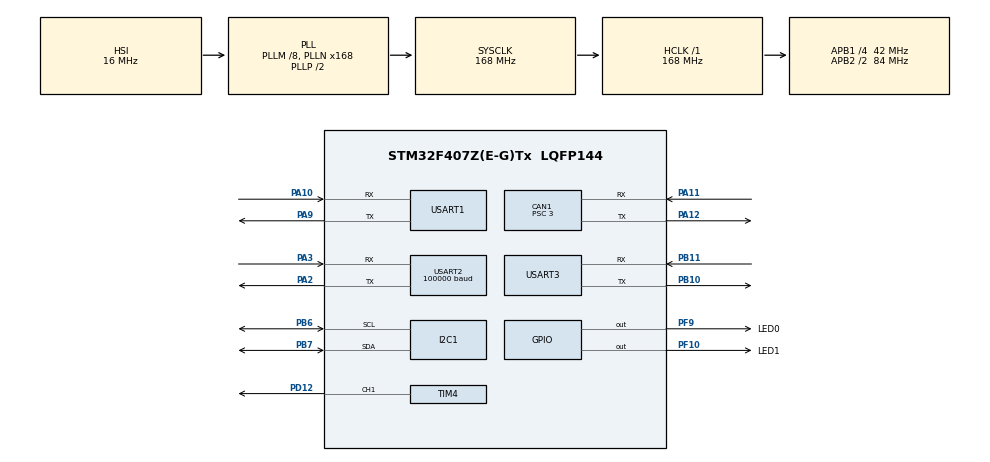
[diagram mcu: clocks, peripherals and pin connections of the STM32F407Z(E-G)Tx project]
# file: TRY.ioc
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CAN1.ABOM=ENABLE
CAN1.BS1=CAN_BS1_9TQ
CAN1.BS2=CAN_BS2_4TQ
CAN1.CalculateTimeQuantum=71.42857142857143
CAN1.Prescaler=3
CAN1.TXFP=DISABLE
Dma.Request0=USART2_RX
Dma.USART2_RX.0.Direction=DMA_PERIPH_TO_MEMORY
Dma.USART2_RX.0.FIFOMode=DMA_FIFOMODE_DISABLE
Dma.USART2_RX.0.Instance=DMA1_Stream5
Dma.USART2_RX.0.MemDataAlignment=DMA_MDATAALIGN_BYTE
Dma.USART2_RX.0.MemInc=DMA_MINC_ENABLE
Dma.USART2_RX.0.Mode=DMA_NORMAL
Dma.USART2_RX.0.PeriphDataAlignment=DMA_PDATAALIGN_BYTE
Dma.USART2_RX.0.PeriphInc=DMA_PINC_DISABLE
Dma.USART2_RX.0.Priority=DMA_PRIORITY_VERY_HIGH
FREERTOS.Tasks01=ControlTask,2,128,StartControlTask,Default,NULL,Dynamic,NULL,NULL;imu_Task,0,256,Start_imu_Task,Default,NULL,Dynamic,NULL,NULL
FREERTOS.Timers01=CanTimerSend,CanTimerSendCallback,osTimerPeriodic,Default,NULL,Dynamic,NULL
FREERTOS.configGENERATE_RUN_TIME_STATS=0
FREERTOS.configUSE_TIMERS=1
FREERTOS.configUSE_TRACE_FACILITY=1
Mcu.Family=STM32F4
Mcu.Name=STM32F407Z(E-G)Tx
Mcu.Package=LQFP144
NVIC.CAN1_RX0_IRQn=true\:5\:0\:true\:false\:true\:true\:true
NVIC.CAN1_TX_IRQn=true\:5\:0\:true\:false\:true\:true\:true
NVIC.DMA1_Stream5_IRQn=true\:5\:0\:false\:false\:true\:true\:false
NVIC.PriorityGroup=NVIC_PRIORITYGROUP_4
NVIC.TIM3_IRQn=true\:5\:0\:false\:false\:true\:true\:true
NVIC.TIM4_IRQn=true\:5\:0\:false\:false\:true\:true\:true
NVIC.TIM5_IRQn=true\:5\:0\:false\:false\:true\:true\:true
NVIC.TIM6_DAC_IRQn=true\:0\:0\:false\:false\:true\:false\:false
NVIC.TimeBase=TIM6_DAC_IRQn
NVIC.TimeBaseIP=TIM6
NVIC.USART1_IRQn=true\:5\:0\:true\:false\:true\:true\:true
NVIC.USART2_IRQn=true\:5\:0\:true\:false\:true\:true\:true
NVIC.USART3_IRQn=true\:5\:0\:false\:false\:true\:true\:true
PA10.Mode=Asynchronous
PA10.Signal=USART1_RX
PA11.Mode=Master
PA11.Signal=CAN1_RX
PA12.Mode=Master
PA12.Signal=CAN1_TX
PA13.Mode=Serial_Wire
PA13.Signal=SYS_JTMS-SWDIO
PA14.Mode=Serial_Wire
PA14.Signal=SYS_JTCK-SWCLK
PA2.Mode=Asynchronous
PA2.Signal=USART2_TX
PA3.Mode=Asynchronous
PA3.Signal=USART2_RX
PA9.Mode=Asynchronous
PA9.Signal=USART1_TX
PB10.Mode=Asynchronous
PB10.Signal=USART3_TX
PB11.Mode=Asynchronous
PB11.Signal=USART3_RX
PB6.Mode=I2C
PB6.Signal=I2C1_SCL
PB7.Mode=I2C
PB7.Signal=I2C1_SDA
PD12.Signal=S_TIM4_CH1
PF10.GPIO_Label=LED1
PF10.Signal=GPIO_Output
PF9.GPIO_Label=LED0
PF9.Signal=GPIO_Output
PH0-OSC_IN.Mode=HSE-External-Oscillator
PH0-OSC_IN.Signal=RCC_OSC_IN
PH1-OSC_OUT.Mode=HSE-External-Oscillator
PH1-OSC_OUT.Signal=RCC_OSC_OUT
ProjectManager.HeapSize=0x200
ProjectManager.StackSize=0x400
ProjectManager.TargetToolchain=MDK-ARM V5
RCC.48MHZClocksFreq_Value=84000000
RCC.AHBFreq_Value=168000000
RCC.APB1CLKDivider=RCC_HCLK_DIV4
RCC.APB1Freq_Value=42000000
RCC.APB1TimFreq_Value=84000000
RCC.APB2CLKDivider=RCC_HCLK_DIV2
RCC.APB2Freq_Value=84000000
RCC.APB2TimFreq_Value=168000000
RCC.CortexFreq_Value=168000000
RCC.HCLKFreq_Value=168000000
RCC.HSE_VALUE=8000000
RCC.HSI_VALUE=16000000
RCC.LSE_VALUE=32768
RCC.PLLM=8
RCC.PLLN=168
RCC.SYSCLKFreq_VALUE=168000000
RCC.SYSCLKSource=RCC_SYSCLKSOURCE_PLLCLK
RCC.VCOOutputFreq_Value=336000000
SH.S_TIM4_CH1.0=TIM4_CH1,PWM Generation1 CH1
TIM3.Period=39
TIM3.Prescaler=8399
TIM4.Channel-PWM\ Generation1\ CH1=TIM_CHANNEL_1
TIM4.Period=3999
TIM4.Prescaler=83
TIM5.Period=9
TIM5.Prescaler=8399
USART1.VirtualMode=VM_ASYNC
USART2.BaudRate=100000
USART2.Parity=PARITY_EVEN
USART2.VirtualMode=VM_ASYNC
USART3.VirtualMode=VM_ASYNC
VP_FREERTOS_VS_ENABLE.Mode=Enabled
VP_SYS_VS_tim6.Mode=TIM6
VP_TIM3_VS_ClockSourceINT.Mode=Internal
VP_TIM4_VS_ClockSourceINT.Mode=Internal
VP_TIM5_VS_ClockSourceINT.Mode=Internal
board=custom

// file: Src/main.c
/* USER CODE BEGIN Header */
/**
  ******************************************************************************
  * @file           : main.c
  * @brief          : Main program body
  ******************************************************************************
  ** This notice applies to any and all portions of this file
  * that are not between comment pairs USER CODE BEGIN and
  * USER CODE END. Other portions of this file, whether
  * inserted by the user or by software development tools
  * are owned by their respective copyright owners.
  *
  * COPYRIGHT(c) 2018 STMicroelectronics
  *
  * Redistribution and use in source and binary forms, with or without modification,
  * are permitted provided that the following conditions are met:
  *   1. Redistributions of source code must retain the above copyright notice,
  *      this list of conditions and the following disclaimer.
  *   2. Redistributions in binary form must reproduce the above copyright notice,
  *      this list of conditions and the following disclaimer in the documentation
  *      and/or other materials provided with the distribution.
  *   3. Neither the name of STMicroelectronics nor the names of its contributors
  *      may be used to endorse or promote products derived from this software
  *      without specific prior written permission.
  *
  * THIS SOFTWARE IS PROVIDED BY THE COPYRIGHT HOLDERS AND CONTRIBUTORS "AS IS"
  * AND ANY EXPRESS OR IMPLIED WARRANTIES, INCLUDING, BUT NOT LIMITED TO, THE
  * IMPLIED WARRANTIES OF MERCHANTABILITY AND FITNESS FOR A PARTICULAR PURPOSE ARE
  * DISCLAIMED. IN NO EVENT SHALL THE COPYRIGHT HOLDER OR CONTRIBUTORS BE LIABLE
  * FOR ANY DIRECT, INDIRECT, INCIDENTAL, SPECIAL, EXEMPLARY, OR CONSEQUENTIAL
  * DAMAGES (INCLUDING, BUT NOT LIMITED TO, PROCUREMENT OF SUBSTITUTE GOODS OR
  * SERVICES; LOSS OF USE, DATA, OR PROFITS; OR BUSINESS INTERRUPTION) HOWEVER
  * CAUSED AND ON ANY THEORY OF LIABILITY, WHETHER IN CONTRACT, STRICT LIABILITY,
  * OR TORT (INCLUDING NEGLIGENCE OR OTHERWISE) ARISING IN ANY WAY OUT OF THE USE
  * OF THIS SOFTWARE, EVEN IF ADVISED OF THE POSSIBILITY OF SUCH DAMAGE.
  *
  ******************************************************************************
  */
/* USER CODE END Header */

#include "main.h"
#include "cmsis_os.h"
#include "can.h"
#include "dma.h"
#include "i2c.h"
#include "tim.h"
#include "usart.h"
#include "gpio.h"

/* USER CODE BEGIN Includes */
#include "CanBusTask.h"
#include "FireTask.h"
#include "sprintf.h"
#include "inv_mpu.h"
#include "mpu9250.h"
/* USER CODE END Includes */

/* USER CODE BEGIN PD */
 int SPRINTF;
/* USER CODE END PD */

void SystemClock_Config(void);
void MX_FREERTOS_Init(void);

int main(void)
{
  /* USER CODE BEGIN 1 */
  unsigned char DMP_INT_FLAG=0;
  /* USER CODE END 1 */

  /* MCU Configuration--------------------------------------------------------*/

  /* Reset of all peripherals, Initializes the Flash interface and the Systick. */
  HAL_Init();

  /* Configure the system clock */
  SystemClock_Config();

  /* Initialize all configured peripherals */
  MX_GPIO_Init();
  MX_DMA_Init();
  MX_TIM3_Init();
  MX_TIM4_Init();
  MX_USART1_UART_Init();
  MX_USART2_UART_Init();
  MX_USART3_UART_Init();
  MX_CAN1_Init();
  MX_TIM5_Init();
  MX_I2C1_Init();
  /* USER CODE BEGIN 2 */
	RC_Ctl_t_Init();
	HAL_TIM_Base_Start_IT(&htim3);
	HAL_TIM_Base_Start_IT(&htim5);
  HAL_UART_Receive_IT_IDLE(&huart2,UART_Buffer,100);
	mpu_dmp_init();
	my_can_filter_init_recv_all(&hcan1);     //配置CAN过滤器
  HAL_CAN_Receive_IT(&hcan1, CAN_FIFO0);   //启动CAN接收中断
//	HAL_GPIO_WritePin(LED0_GPIO_Port,LED0_Pin, GPIO_PIN_SET);
//	HAL_GPIO_WritePin(LED1_GPIO_Port,LED1_Pin, GPIO_PIN_SET);
  /* USER CODE END 2 */

  /* Call init function for freertos objects (in freertos.c) */
  MX_FREERTOS_Init();

  /* Start scheduler */
  osKernelStart();

  /* We should never get here as control is now taken by the scheduler */

  /* Infinite loop */
  while (1)
  {

  }
}

void SystemClock_Config(void)
{
  RCC_OscInitTypeDef RCC_OscInitStruct = {0};
  RCC_ClkInitTypeDef RCC_ClkInitStruct = {0};

  /**Configure the main internal regulator output voltage
  */
  __HAL_RCC_PWR_CLK_ENABLE();
  __HAL_PWR_VOLTAGESCALING_CONFIG(PWR_REGULATOR_VOLTAGE_SCALE1);
  /**Initializes the CPU, AHB and APB busses clocks
  */
  RCC_OscInitStruct.OscillatorType = RCC_OSCILLATORTYPE_HSI;
  RCC_OscInitStruct.HSIState = RCC_HSI_ON;
  RCC_OscInitStruct.HSICalibrationValue = RCC_HSICALIBRATION_DEFAULT;
  RCC_OscInitStruct.PLL.PLLState = RCC_PLL_ON;
  RCC_OscInitStruct.PLL.PLLSource = RCC_PLLSOURCE_HSI;
  RCC_OscInitStruct.PLL.PLLM = 8;
  RCC_OscInitStruct.PLL.PLLN = 168;
  RCC_OscInitStruct.PLL.PLLP = RCC_PLLP_DIV2;
  RCC_OscInitStruct.PLL.PLLQ = 4;
  if (HAL_RCC_OscConfig(&RCC_OscInitStruct) != HAL_OK)
  {
    Error_Handler();
  }
  /**Initializes the CPU, AHB and APB busses clocks
  */
  RCC_ClkInitStruct.ClockType = RCC_CLOCKTYPE_HCLK|RCC_CLOCKTYPE_SYSCLK
                              |RCC_CLOCKTYPE_PCLK1|RCC_CLOCKTYPE_PCLK2;
  RCC_ClkInitStruct.SYSCLKSource = RCC_SYSCLKSOURCE_PLLCLK;
  RCC_ClkInitStruct.AHBCLKDivider = RCC_SYSCLK_DIV1;
  RCC_ClkInitStruct.APB1CLKDivider = RCC_HCLK_DIV4;
  RCC_ClkInitStruct.APB2CLKDivider = RCC_HCLK_DIV2;

  if (HAL_RCC_ClockConfig(&RCC_ClkInitStruct, FLASH_LATENCY_5) != HAL_OK)
  {
    Error_Handler();
  }
}

void HAL_TIM_PeriodElapsedCallback(TIM_HandleTypeDef *htim)
{
  /* USER CODE BEGIN Callback 0 */
	if (htim->Instance == TIM3){
		SPRINTF = 1;
}
  /* USER CODE END Callback 0 */
  if (htim->Instance == TIM6) {
    HAL_IncTick();
  }
  /* USER CODE BEGIN Callback 1 */
	if (htim->Instance == TIM5){
		YUNTAI_SPEED();
}
  /* USER CODE END Callback 1 */
}

void Error_Handler(void)
{
}

/************************ (C) COPYRIGHT STMicroelectronics *****END OF FILE****/

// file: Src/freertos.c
/* USER CODE BEGIN Header */
/**
  ******************************************************************************
  * File Name          : freertos.c
  * Description        : Code for freertos applications
  ******************************************************************************
  * This notice applies to any and all portions of this file
  * that are not between comment pairs USER CODE BEGIN and
  * USER CODE END. Other portions of this file, whether
  * inserted by the user or by software development tools
  * are owned by their respective copyright owners.
  *
  * Copyright (c) 2019 STMicroelectronics International N.V.
  * All rights reserved.
  *
  * Redistribution and use in source and binary forms, with or without
  * modification, are permitted, provided that the following conditions are met:
  *
  * 1. Redistribution of source code must retain the above copyright notice,
  *    this list of conditions and the following disclaimer.
  * 2. Redistributions in binary form must reproduce the above copyright notice,
  *    this list of conditions and the following disclaimer in the documentation
  *    and/or other materials provided with the distribution.
  * 3. Neither the name of STMicroelectronics nor the names of other
  *    contributors to this software may be used to endorse or promote products
  *    derived from this software without specific written permission.
  * 4. This software, including modifications and/or derivative works of this
  *    software, must execute solely and exclusively on microcontroller or
  *    microprocessor devices manufactured by or for STMicroelectronics.
  * 5. Redistribution and use of this software other than as permitted under
  *    this license is void and will automatically terminate your rights under
  *    this license.
  *
  * THIS SOFTWARE IS PROVIDED BY STMICROELECTRONICS AND CONTRIBUTORS "AS IS"
  * AND ANY EXPRESS, IMPLIED OR STATUTORY WARRANTIES, INCLUDING, BUT NOT
  * LIMITED TO, THE IMPLIED WARRANTIES OF MERCHANTABILITY, FITNESS FOR A
  * PARTICULAR PURPOSE AND NON-INFRINGEMENT OF THIRD PARTY INTELLECTUAL PROPERTY
  * RIGHTS ARE DISCLAIMED TO THE FULLEST EXTENT PERMITTED BY LAW. IN NO EVENT
  * SHALL STMICROELECTRONICS OR CONTRIBUTORS BE LIABLE FOR ANY DIRECT, INDIRECT,
  * INCIDENTAL, SPECIAL, EXEMPLARY, OR CONSEQUENTIAL DAMAGES (INCLUDING, BUT NOT
  * LIMITED TO, PROCUREMENT OF SUBSTITUTE GOODS OR SERVICES; LOSS OF USE, DATA,
  * OR PROFITS; OR BUSINESS INTERRUPTION) HOWEVER CAUSED AND ON ANY THEORY OF
  * LIABILITY, WHETHER IN CONTRACT, STRICT LIABILITY, OR TORT (INCLUDING
  * NEGLIGENCE OR OTHERWISE) ARISING IN ANY WAY OUT OF THE USE OF THIS SOFTWARE,
  * EVEN IF ADVISED OF THE POSSIBILITY OF SUCH DAMAGE.
  *
  ******************************************************************************
  */
/* USER CODE END Header */

#include "FreeRTOS.h"
#include "task.h"
#include "main.h"
#include "cmsis_os.h"

/* USER CODE BEGIN Includes */
#include "CanBusTask.h"
#include "FireTask.h"
#include "sprintf.h"
#include "imu_task.h"
/* USER CODE END Includes */

/* USER CODE BEGIN PTD */
  int8_t CAN_SEND=0;
/* USER CODE END PTD */

/* USER CODE BEGIN PD */
extern int SPRINTF;
/* USER CODE END PD */

osThreadId ControlTaskHandle;
osThreadId imu_TaskHandle;
osTimerId CanTimerSendHandle;

void StartControlTask(void const * argument);
void Start_imu_Task(void const * argument);
void CanTimerSendCallback(void const * argument);

void MX_FREERTOS_Init(void); /* (MISRA C 2004 rule 8.1) */

void MX_FREERTOS_Init(void) {

  /* Create the timer(s) */
  /* definition and creation of CanTimerSend */
  osTimerDef(CanTimerSend, CanTimerSendCallback);
  CanTimerSendHandle = osTimerCreate(osTimer(CanTimerSend), osTimerPeriodic, NULL);

  /* Create the thread(s) */
  /* definition and creation of ControlTask */
  osThreadDef(ControlTask, StartControlTask, osPriorityHigh, 0, 128);
  ControlTaskHandle = osThreadCreate(osThread(ControlTask), NULL);

  /* definition and creation of imu_Task */
  osThreadDef(imu_Task, Start_imu_Task, osPriorityNormal, 0, 256);
  imu_TaskHandle = osThreadCreate(osThread(imu_Task), NULL);

}

void StartControlTask(void const * argument)
{

  /* USER CODE BEGIN StartControlTask */
  /* Infinite loop */
  for(;;)
  {
		Gimbal_RC_Mode();
		SHORT();
//		Print_PID_Data();
		if(CAN_SEND==1){
			PID_calculate_position_self();
			PID_calculate_chassis_self();
			CAN_SEND=0;
		}
		if(SPRINTF == 1){
			shanwai_sprintf();
//			mpu9250_assignment();
			SPRINTF = 0;}

    osDelay(1);
  }
  /* USER CODE END StartControlTask */
}

void Start_imu_Task(void const * argument)
{
  /* USER CODE BEGIN Start_imu_Task */
  /* Infinite loop */
  for(;;)
  {
//		Get_IMU_data();
    osDelay(1);
  }
  /* USER CODE END Start_imu_Task */
}

/* CanTimerSendCallback function */
void CanTimerSendCallback(void const * argument)
{
  /* USER CODE BEGIN CanTimerSendCallback */
	CAN_SEND=1;
//  PID_calculate_position_self();
//	PID_calculate_chassis_self();
  /* USER CODE END CanTimerSendCallback */
}

/************************ (C) COPYRIGHT STMicroelectronics *****END OF FILE****/
